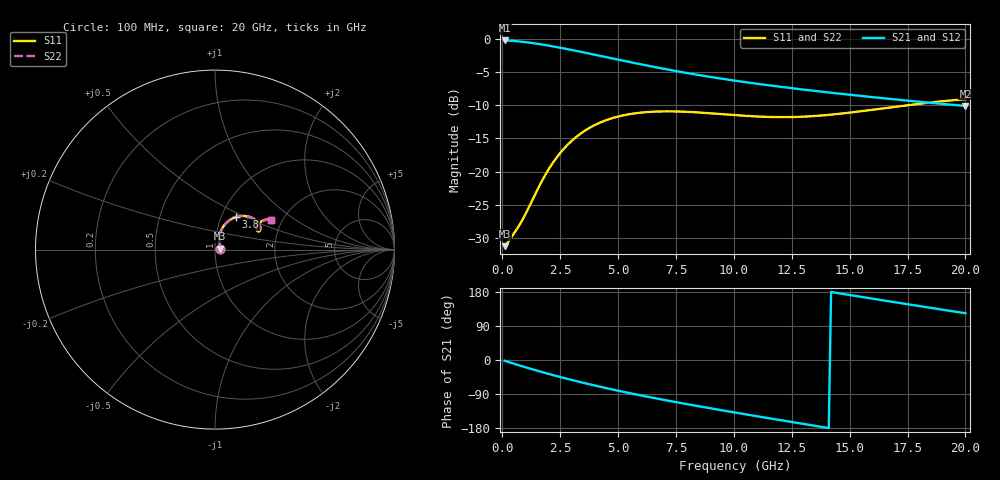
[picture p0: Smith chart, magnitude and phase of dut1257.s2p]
! Touchstone file exported from HFSS 2024.1.0
!  File:  C:/UserFiles/LocalFiles/RDL_TSV_Batchsim/temp_RDL_TSV_1257_1780271444.aedt
!  Generated:  08:08:06 AM Jun  1, 2026
!  Design:  RDL_TSV
!  Project:  temp_RDL_TSV_1257_1780271444
!  Setup:  Setup1
!  Solution:  Sweep
! Variables:
!  dtsv = 12.37um
!  hbump = 3um
!  htsv = 62.76um
!  ldown = 474.4um
!  lrdl = 513.19um
!  p = 40
!  p1 = 41.41um
!  rhole = 10um
!  subl = 3475.96um
!  t = 450um
!  tdown = 3.45um
!  trdl = 2.64um
!  viad = 10um
!  wdown = 11.72um
!  wrdl = 18.23um
!  xbump = 18um
# GHz S MA R 50.000000
! Terminal data exported
! Port[1] = TM1_1_T1
! Port[2] = TM1_4_T1
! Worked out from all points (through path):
!   200 points, 100 MHz to 20 GHz, reference 50 ohm
!   highest |S21| = -0.24 dB at 100 MHz (marker M1); lowest = -10.1 dB at 20 GHz (marker M2)
!   group delay of S21, straight-line fit = 31.2 ps
!   lowest |S11| = -31.2 dB at 100 MHz (marker M3), VSWR 1.06, Z = 52.8 + j0.457 ohm
!   |S11| at or under -10 dB: start of sweep to 17.48 GHz
!   |S22| runs from -31.2 to -9.1 dB; largest |S21 - S12| = 1.1e-14
!   S11 on the Smith chart (normalised r, x): 100 MHz: 1.06, +0.01; 3.8 GHz: 1.17, +0.45; 20 GHz: 1.74, +0.66
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0.1  0.0275 9.1  0.9725 -2.0  0.9725 -2.0  0.0275 9.1
! Gamma 0 0 0 0
! Port Impedance 50 0 50 0
0.4  0.03229 29.9  0.9667 -7.9  0.9667 -7.9  0.03229 29.9
0.8  0.04127 49.7  0.9533 -15.5  0.9533 -15.5  0.04127 49.7
1.3  0.06129 66.6  0.9301 -24.6  0.9301 -24.6  0.0613 66.6
1.8  0.0909 72.3  0.9017 -33.3  0.9017 -33.3  0.09091 72.3
2.2  0.1178 71.9  0.8768 -40.0  0.8768 -40.0  0.1178 71.9
2.6  0.145 69.3  0.8509 -46.5  0.8509 -46.5  0.145 69.3
3  0.1709 65.7  0.8245 -52.7  0.8245 -52.7  0.1709 65.7
3.5  0.2 60.5  0.7915 -60.2  0.7915 -60.2  0.2001 60.5
3.8  0.2154 57.3  0.772 -64.6  0.772 -64.6  0.2154 57.3
4.5  0.2446 50.1  0.7277 -74.4  0.7277 -74.4  0.2447 50.2
5.3  0.2672 42.7  0.6803 -84.9  0.6803 -84.9  0.2672 42.8
6  0.2786 37.2  0.6422 -93.7  0.6422 -93.7  0.2787 37.2
6.8  0.2842 31.9  0.6029 -103.2  0.6029 -103.2  0.2842 32.0
8.4  0.2797 24.9  0.5371 -121.2  0.5371 -121.2  0.2797 25.0
10.1  0.2661 22.5  0.4828 -139.2  0.4828 -139.2  0.2662 22.5
11.7  0.2578 24.0  0.4425 -155.6  0.4425 -155.6  0.2579 24.1
13.4  0.2618 27.5  0.4074 -172.7  0.4074 -172.7  0.262 27.6
15  0.2783 30.3  0.3795 171.5  0.3795 171.5  0.2785 30.5
16.7  0.3038 31.3  0.3537 154.9  0.3537 154.9  0.3041 31.4
18.3  0.3289 30.3  0.3323 139.5  0.3323 139.5  0.3293 30.5
20  0.3515 27.9  0.3125 123.4  0.3125 123.4  0.3519 28.1
